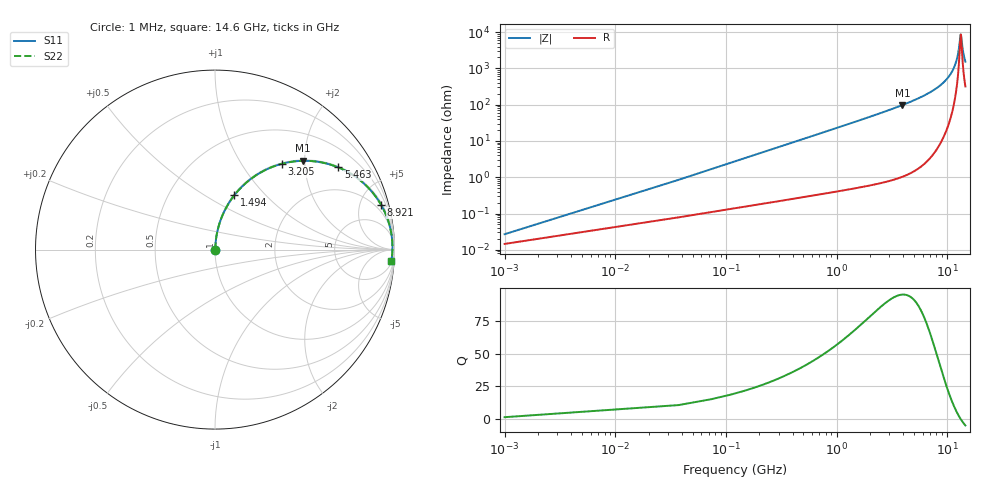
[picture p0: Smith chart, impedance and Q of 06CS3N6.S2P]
! Coilcraft 0603CS-3N6 Chip Inductor
! 21 May 2002
# MHZ S MA R 50
!Freq  MagS11  AngS11  MagS21  AngS21  MagS12  AngS12  MagS22  AngS22
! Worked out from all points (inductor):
!   402 points, 1 MHz to 14.6 GHz, reference 50 ohm
!   read as one part in series: L = 3.6 nH near 73.82 MHz
!   highest Q = 94.9 at 3.933 GHz (marker M1), where L = 3.95 nH
!   self-resonance near 13.25 GHz
!   S11 on the Smith chart (normalised r, x): 1 MHz: 1.00, +0.00; 1.494 GHz: 1.01, +0.68; 3.205 GHz: 1.02, +1.54; 5.463 GHz: 1.03, +2.98; 8.921 GHz: 1.20, +7.36; 14.6 GHz: 7, -30
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1  0.0002686 57.3  0.9999 -0.0  0.9999 -0.0  0.0002686 57.3
110.23  0.02493 85.5  0.9984 -1.4  0.9984 -1.4  0.02493 85.5
183.05  0.04134 85.3  0.9974 -2.4  0.9974 -2.4  0.04134 85.3
292.28  0.06589 84.4  0.9957 -3.8  0.9957 -3.8  0.06589 84.4
474.33  0.1066 82.4  0.9916 -6.1  0.9916 -6.1  0.1066 82.4
729.2  0.1627 79.5  0.9833 -9.4  0.9833 -9.4  0.1627 79.5
1493.81  0.3224 70.4  0.9419 -18.8  0.9419 -18.8  0.3224 70.4
2440.47  0.4936 59.7  0.8639 -29.6  0.8639 -29.6  0.4936 59.7
3205.08  0.6069 52.0  0.7882 -37.4  0.7882 -37.4  0.6069 52.0
3933.28  0.6946 45.4  0.7121 -44.0  0.7121 -44.0  0.6946 45.4
4879.94  0.7831 37.8  0.6134 -51.5  0.6134 -51.5  0.7831 37.8
5462.5  0.8256 33.7  0.5548 -55.6  0.5548 -55.6  0.8256 33.7
7319.41  0.9165 22.6  0.3851 -66.4  0.3851 -66.4  0.9165 22.6
8921.45  0.9585 15.1  0.2602 -73.4  0.2602 -73.4  0.9585 15.1
9758.88  0.9717 11.7  0.2021 -76.2  0.2021 -76.2  0.9717 11.7
11215.28  0.9848 6.4  0.1111 -79.0  0.1111 -79.0  0.9848 6.4
12198.35  0.9883 3.2  0.05634 -76.4  0.05634 -76.4  0.9883 3.2
12635.27  0.9888 1.8  0.03394 -69.8  0.03394 -69.8  0.9888 1.8
13254.24  0.9886 0.0  0.01147 -3.6  0.01147 -3.6  0.9886 0.0
13363.47  0.9884 -0.3  0.0125 21.7  0.0125 21.7  0.9884 -0.3
13946.03  0.9871 -1.9  0.03499 67.4  0.03499 67.4  0.9871 -1.9
14600  0.9847 -3.6  0.06416 74.5  0.06416 74.5  0.9847 -3.6
